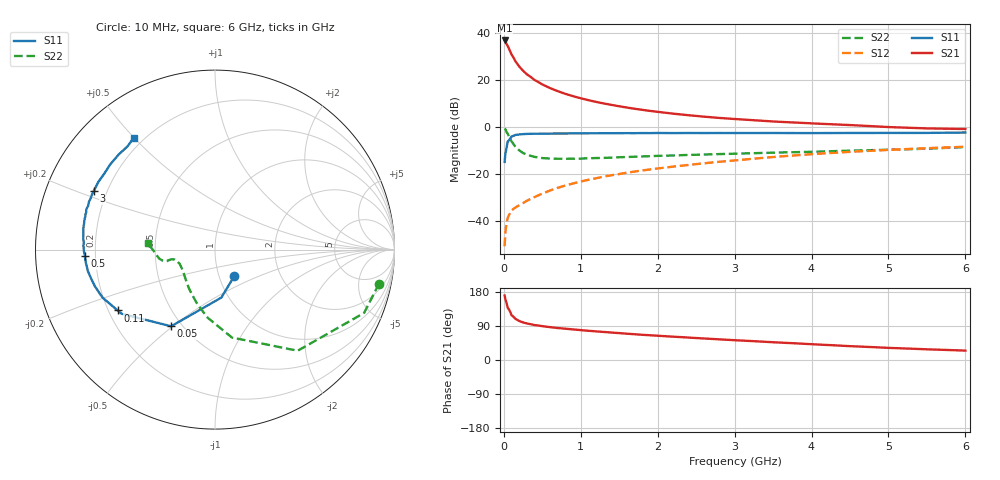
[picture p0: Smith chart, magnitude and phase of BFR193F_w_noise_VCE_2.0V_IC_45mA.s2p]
! Infineon Technologies  Discrete & RF Semiconductors
! BFR193F
! VCE =  2.0 V,  IC =  45 mA
! Common Emitter S-Parameters:  Jan 2017
# GHz  S  MA  R  50
!  f  S11  S21  S12  S22
! GHz  MAG  ANG  MAG  ANG  MAG  ANG  MAG  ANG
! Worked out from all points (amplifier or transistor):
!   77 points, 10 MHz to 6 GHz, reference 50 ohm
!   highest |S21| = 37.0 dB at 10 MHz (marker M1)
!   |S21| within 3 dB of that: start of sweep to 59.84 MHz
!   unconditionally stable (mu >= 1): 771.4 MHz to 2.697 GHz
!   at 130 MHz: K = 0.50, MSG = 32.1 dB, |S12| = -34.8 dB
!   at 2.2 GHz: K = 1.02, MAG = 10.4 dB, |S12| = -16.8 dB
!   at 6 GHz: K = 0.89, MSG = 3.8 dB, |S12| = -8.4 dB
!   lowest NFmin = 1.41 dB at 450 MHz
!   S11 on the Smith chart (normalised r, x): 10 MHz: 1.18, -0.36; 50 MHz: 0.44, -0.49; 110 MHz: 0.24, -0.27; 500 MHz: 0.16, -0.02; 3 GHz: 0.15, +0.22; 6 GHz: 0.16, +0.50
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0.01  0.182 -53.4  70.62 170.2  0.0029 82.9  0.9337 -11.7
0.02  0.2695 -82.4  67.53 160.3  0.0058 75.9  0.9026 -23.0
0.05  0.4923 -119.8  53.99 138.1  0.0116 59.2  0.728 -50.7
0.1  0.6318 -145.6  35.54 118.1  0.0167 51.5  0.499 -79.1
0.11  0.6396 -148.0  33.48 116.7  0.0172 51.1  0.4728 -81.8
0.15  0.6814 -156.9  25.53 108.7  0.0193 49.7  0.3821 -96.1
0.2  0.6997 -163.0  19.66 102.9  0.0217 52.5  0.3206 -107.6
0.25  0.7104 -167.5  15.91 99.2  0.024 54.5  0.2811 -117.2
0.3  0.7182 -170.4  13.39 96.4  0.027 59.2  0.2592 -124.3
0.4  0.724 -174.5  10.12 92.1  0.0323 61.7  0.232 -135.0
0.5  0.726 -177.3  8.149 89.3  0.0383 65.1  0.2194 -142.3
0.6  0.7309 -179.5  6.821 86.7  0.0445 67.0  0.2139 -148.1
0.7  0.7334 178.3  5.861 84.4  0.0509 68.9  0.2119 -151.9
0.9  0.7369 175.1  4.579 80.7  0.063 71.2  0.2123 -157.9
1.1  0.7402 172.4  3.761 77.1  0.0755 71.8  0.2172 -161.0
1.6  0.7462 166.6  2.618 69.4  0.107 72.8  0.2311 -166.0
2.1  0.7496 161.9  2.031 62.8  0.1378 72.2  0.2468 -167.3
3  0.7501 154.2  1.493 52.2  0.195 70.2  0.2716 -166.5
3.1  0.75 153.3  1.458 51.2  0.2021 69.8  0.2744 -166.6
4.1  0.7486 144.4  1.185 40.7  0.2716 65.0  0.3017 -168.7
5.1  0.7535 134.4  0.992 31.3  0.3332 58.9  0.3335 -176.7
6  0.7702 126.0  0.914 24.8  0.3822 53.3  0.3765 174.8
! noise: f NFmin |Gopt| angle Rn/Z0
0.45  1.41  0.45  180  0.07
0.9  1.49  0.46  -179  0.07
1.9  2.06  0.59  -164  0.09
2.4  2.37  0.61  -156  0.14
